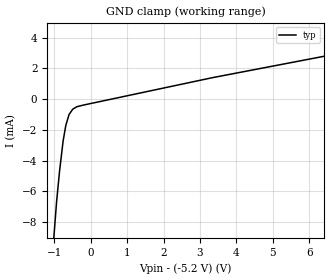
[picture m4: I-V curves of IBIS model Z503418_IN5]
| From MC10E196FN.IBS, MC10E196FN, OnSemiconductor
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| (C) COPYRIGHT 1993-2000
| MENTOR GRAPHICS CORPORATION
| ICX STANDARD LIBRARY, ICX PROJECT MODELING,
| ICX CUSTOM MODELING, ICX VENDOR MODEL
| ALL RIGHTS RESERVED.
| THE FOLLOWING ARE TRADEMARKS OR SERVICE MARKS OF
| MENTOR GRAPHICS CORPORATION:ICX (R), ICX STANDARD
| LIBRARY(R), ICX PROJECT MODELING(R), ICX CUSTOM
| MODELING(R), qualityIBIS(TM), MODELVIEWER(TM),
| AND MODELEDITOR(TM)
| ALL COPIES OF SOFTWARE, INCLUDING BUT NOT LIMITED TO
| ANY MODIFICATIONS, ENHANCEMENTS OR DERIVATIVE WORKS,
| MUST CONTAIN ALL MENTOR GRAPHICS CORPORATION'S
| NOTICES AND LEGENDS, INCLUDING THOSE EMBEDDED IN
| SOFTWARE AND THOSE AFFIXED TO SOFTWARE MEDIUM
| AND CONTAINER, AS RECEIVED FROM MENTOR GRAPHICS
| CORPORATION.
| Model Application Version 1.89 2/18/99.
[Model] Z503418_IN5
Model_type Input_ECL
Vinl = -1.480V
Vinh = -1.130V
C_comp 4.000pF NA NA
| variable typ   min   max
[Voltage Range] -5.200V NA NA
[GND Clamp Reference] -5.200V NA NA
[POWER Clamp Reference] 0.000V NA NA
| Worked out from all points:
|   GND clamp passes 1 mA (typ) near -0.60 V on its own axis
[GND Clamp]
-5.2V     -172.7mA   NA         NA
-1.093V   -11.32mA   NA         NA
-942mV    -6.675mA   NA         NA
-859mV    -4.648mA   NA         NA
-762mV    -2.713mA   NA         NA
-689mV    -1.715mA   NA         NA
-599mV    -1mA       NA         NA
-499mV    -657.5uA   NA         NA
-386mV    -494.3uA   NA         NA
-193mV    -381.5uA   NA         NA
3.344V    1.396mA    NA         NA
10.4V     4.593mA    NA         NA
[POWER Clamp]
-5.2V     0A         NA         NA
10.4V     0A         NA         NA
